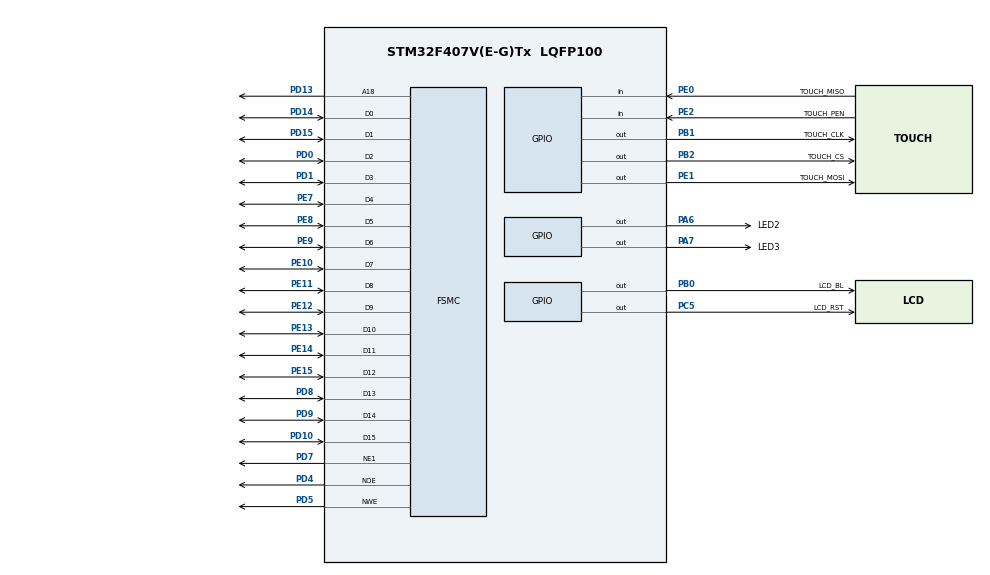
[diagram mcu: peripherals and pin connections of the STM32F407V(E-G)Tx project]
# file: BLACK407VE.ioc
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Dma.MEMTOMEM.0.Direction=DMA_MEMORY_TO_MEMORY
Dma.MEMTOMEM.0.FIFOMode=DMA_FIFOMODE_ENABLE
Dma.MEMTOMEM.0.FIFOThreshold=DMA_FIFO_THRESHOLD_FULL
Dma.MEMTOMEM.0.Instance=DMA2_Stream0
Dma.MEMTOMEM.0.MemBurst=DMA_MBURST_INC8
Dma.MEMTOMEM.0.MemDataAlignment=DMA_MDATAALIGN_HALFWORD
Dma.MEMTOMEM.0.MemInc=DMA_MINC_ENABLE
Dma.MEMTOMEM.0.Mode=DMA_NORMAL
Dma.MEMTOMEM.0.PeriphBurst=DMA_PBURST_INC8
Dma.MEMTOMEM.0.PeriphDataAlignment=DMA_PDATAALIGN_HALFWORD
Dma.MEMTOMEM.0.PeriphInc=DMA_PINC_ENABLE
Dma.MEMTOMEM.0.Priority=DMA_PRIORITY_HIGH
Dma.Request0=MEMTOMEM
FSMC.AddressSetupTime1=3
FSMC.BusTurnAroundDuration1=3
FSMC.DataSetupTime1=6
Mcu.Family=STM32F4
Mcu.Name=STM32F407V(E-G)Tx
Mcu.Package=LQFP100
NVIC.DMA2_Stream0_IRQn=true\:0\:0\:false\:false\:true\:true\:true
NVIC.PriorityGroup=NVIC_PRIORITYGROUP_4
PA13.Mode=Serial_Wire
PA13.Signal=SYS_JTMS-SWDIO
PA14.Mode=Serial_Wire
PA14.Signal=SYS_JTCK-SWCLK
PA6.GPIO_Label=LED2
PA6.Signal=GPIO_Output
PA7.GPIO_Label=LED3
PA7.Signal=GPIO_Output
PB0.GPIO_Label=LCD_BL
PB0.Signal=GPIO_Output
PB1.GPIO_Label=TOUCH_CLK
PB1.Signal=GPIO_Output
PB2.GPIO_Label=TOUCH_CS
PB2.Signal=GPIO_Output
PC14-OSC32_IN.Mode=LSE-External-Oscillator
PC14-OSC32_IN.Signal=RCC_OSC32_IN
PC15-OSC32_OUT.Mode=LSE-External-Oscillator
PC15-OSC32_OUT.Signal=RCC_OSC32_OUT
PC5.GPIO_Label=LCD_RST
PC5.Signal=GPIO_Output
PD0.Mode=16b-d1
PD0.Signal=FSMC_D2
PD1.Mode=16b-d1
PD1.Signal=FSMC_D3
PD10.Mode=16b-d1
PD10.Signal=FSMC_D15
PD13.Mode=A18_1
PD13.Signal=FSMC_A18
PD14.Mode=16b-d1
PD14.Signal=FSMC_D0
PD15.Mode=16b-d1
PD15.Signal=FSMC_D1
PD4.Mode=Lcd1
PD4.Signal=FSMC_NOE
PD5.Mode=Lcd1
PD5.Signal=FSMC_NWE
PD7.Mode=NorPsramChipSelect1_1
PD7.Signal=FSMC_NE1
PD8.Mode=16b-d1
PD8.Signal=FSMC_D13
PD9.Mode=16b-d1
PD9.Signal=FSMC_D14
PE0.GPIO_Label=TOUCH_MISO
PE0.Signal=GPIO_Input
PE1.GPIO_Label=TOUCH_MOSI
PE1.Signal=GPIO_Output
PE10.Mode=16b-d1
PE10.Signal=FSMC_D7
PE11.Mode=16b-d1
PE11.Signal=FSMC_D8
PE12.Mode=16b-d1
PE12.Signal=FSMC_D9
PE13.Mode=16b-d1
PE13.Signal=FSMC_D10
PE14.Mode=16b-d1
PE14.Signal=FSMC_D11
PE15.Mode=16b-d1
PE15.Signal=FSMC_D12
PE2.GPIO_Label=TOUCH_PEN
PE2.Signal=GPIO_Input
PE7.Mode=16b-d1
PE7.Signal=FSMC_D4
PE8.Mode=16b-d1
PE8.Signal=FSMC_D5
PE9.Mode=16b-d1
PE9.Signal=FSMC_D6
PH0-OSC_IN.Mode=HSE-External-Oscillator
PH0-OSC_IN.Signal=RCC_OSC_IN
PH1-OSC_OUT.Mode=HSE-External-Oscillator
PH1-OSC_OUT.Signal=RCC_OSC_OUT
ProjectManager.HeapSize=0x200
ProjectManager.StackSize=0x400
ProjectManager.TargetToolchain=Makefile
RCC.48MHZClocksFreq_Value=48000000
RCC.AHBFreq_Value=168000000
RCC.APB1CLKDivider=RCC_HCLK_DIV4
RCC.APB1Freq_Value=42000000
RCC.APB1TimFreq_Value=84000000
RCC.APB2CLKDivider=RCC_HCLK_DIV2
RCC.APB2Freq_Value=84000000
RCC.APB2TimFreq_Value=168000000
RCC.CortexFreq_Value=168000000
RCC.HCLKFreq_Value=168000000
RCC.HSE_VALUE=8000000
RCC.HSICalibrationValue=8
RCC.HSI_VALUE=16000000
RCC.PLLM=4
RCC.PLLN=168
RCC.PLLQ=7
RCC.PLLSourceVirtual=RCC_PLLSOURCE_HSE
RCC.RCC_RTC_Clock_Source=RCC_RTCCLKSOURCE_LSE
RCC.RCC_RTC_Clock_SourceVirtual=RCC_RTCCLKSOURCE_LSE
RCC.SYSCLKFreq_VALUE=168000000
RCC.SYSCLKSource=RCC_SYSCLKSOURCE_PLLCLK
RCC.VCOOutputFreq_Value=336000000
board=custom

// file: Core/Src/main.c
/* USER CODE BEGIN Header */
/**
  ******************************************************************************
  * @file           : main.c
  * @brief          : Main program body
  ******************************************************************************
  * @attention
  *
  * <h2><center>&copy; Copyright (c) 2020 STMicroelectronics.
  * All rights reserved.</center></h2>
  *
  * This software component is licensed by ST under BSD 3-Clause license,
  * the "License"; You may not use this file except in compliance with the
  * License. You may obtain a copy of the License at:
  *                        opensource.org/licenses/BSD-3-Clause
  *
  ******************************************************************************
  */
/* USER CODE END Header */
#include "main.h"
#include "dma.h"
#include "gpio.h"
// #include "fsmc.h"

/* USER CODE BEGIN Includes */
#include <stdio.h>
#include <string.h>

#include "fsmc_ll.h"
#include "ili9341.h"
#include "xpt2046.h"
#include "soft_spi_ts.h"
/* USER CODE END Includes */

/* USER CODE BEGIN PV */

//extern uint16_t tp_pressed;

/* USER CODE END PV */

void SystemClock_Config(void);

extern TS_Point p; // define on __xpt2046_H
volatile bool ts_pressed;
volatile uint32_t ts_divide;

int main(void)
{

  /* MCU Configuration--------------------------------------------------------*/

  /* Reset of all peripherals, Initializes the Flash interface and the Systick. */
  // HAL_Init();

  /* USER CODE BEGIN Init */
  // HAL_Init();
  SET_BIT(RCC->APB2ENR, RCC_APB2ENR_SYSCFGEN); // __HAL_RCC_SYSCFG_CLK_ENABLE();
  SET_BIT(RCC->APB1ENR, RCC_APB1ENR_PWREN); // __HAL_RCC_PWR_CLK_ENABLE();
  /* USER CODE END Init */

  /* Configure the system clock */
  SystemClock_Config();

  /* Initialize all configured peripherals */
  MX_GPIO_Init();
  MX_DMA_Init();
  MX_FSMC_Init();
  /* USER CODE BEGIN 2 */

  lcdBacklightOn();

  lcdInit();
  lcdSetOrientation(LCD_ORIENTATION_PORTRAIT_MIRROR);
  lcdFillRGB(COLOR_BLUE);
  lcdSetTextFont(&Font20);
  lcdSetTextColor(COLOR_CYAN, COLOR_BLUE);
  lcdFillRoundRect(160, 32, 64, 48, 8, COLOR_RED);

  /* USER CODE END 2 */

  /* Infinite loop */
  /* USER CODE BEGIN WHILE */
  while (1)  {
    get_point(&p); // get coordinates x y z from xpt2046
    xpt2046_read();
    lcdSetCursor(5,5);
    lcdPrintf("X%02i Y%02i Z%02i\n", (uint16_t)p.x, (uint16_t)p.y, (uint16_t)p.z);
    // lcdPrintf("X:%02i: Y:%02i\n", 22,44);

    LL_mDelay(250);
    LCD_DrawSpectrum(0,   0, 180, 110,  50);
    LCD_DrawSpectrum(0, 110, 180, 110, 120);
    LCD_DrawSpectrum(0, 220, 180, 100, 240);
    /* USER CODE END WHILE */

	}
}

void SystemClock_Config(void)
{
  LL_FLASH_SetLatency(LL_FLASH_LATENCY_5);
  while(LL_FLASH_GetLatency()!= LL_FLASH_LATENCY_5)
  {
  }
  LL_PWR_SetRegulVoltageScaling(LL_PWR_REGU_VOLTAGE_SCALE1);
  LL_RCC_HSE_Enable();

   /* Wait till HSE is ready */
  while(LL_RCC_HSE_IsReady() != 1)
  {

  }
  LL_RCC_PLL_ConfigDomain_SYS(LL_RCC_PLLSOURCE_HSE, LL_RCC_PLLM_DIV_4, 168, LL_RCC_PLLP_DIV_2);
  LL_RCC_PLL_Enable();

   /* Wait till PLL is ready */
  while(LL_RCC_PLL_IsReady() != 1)
  {

  }
  LL_RCC_SetAHBPrescaler(LL_RCC_SYSCLK_DIV_1);
  LL_RCC_SetAPB1Prescaler(LL_RCC_APB1_DIV_4);
  LL_RCC_SetAPB2Prescaler(LL_RCC_APB2_DIV_2);
  LL_RCC_SetSysClkSource(LL_RCC_SYS_CLKSOURCE_PLL);

   /* Wait till System clock is ready */
  while(LL_RCC_GetSysClkSource() != LL_RCC_SYS_CLKSOURCE_STATUS_PLL)
  {

  }
  LL_SetSystemCoreClock(168000000);

   /* Update the time base */
  if (HAL_InitTick (TICK_INT_PRIORITY) != HAL_OK)
  {
    Error_Handler();
  }
}

/* USER CODE BEGIN 4 */
void  HAL_GPIO_EXTI_Callback ( uint16_t GPIO_Pin)
{

	/*
	if (GPIO_Pin ==T_PEN_Pin){
		tp_pressed = 1;
		if(XPT2046_TouchPressed()){
			if(XPT2046_TouchGetCoordinates(&x, &y))	{
				flag1=1;

				lcdSetCursor(20,20);
				lcdPrintf("x:%03i: y:%02i", y, 320-x);
				lcdDrawPixel(y, 320-x, COLOR_RED);

			}
		}

	}
	*/
}

void LCD_DrawSpectrum(uint16_t x, uint16_t y, uint16_t width, uint16_t height, uint8_t brightness) {

    float c = 0.0f;
    uint16_t red, green, blue = 0;
    float fIncrement = 1.0 / width;
    uint16_t sixTimes = brightness * 6; //1530=255*6

	for(uint16_t i = x; i <= (x + width); i++) {

		if(c >= 0 && c <= (1/6.f)){
			red = brightness;
			green = sixTimes * c;
			blue = 0;
		} else if( c > (1/6.f) && c <= (1/3.f) ){
			red = brightness - (sixTimes * (c - 1/6.f));
			green = brightness;
			blue = 0;
		} else if( c > (1/3.f) && c <= (1/2.f)){
			red = 0;
			green = brightness;
			blue = sixTimes * (c - 1/3.f);
		} else if(c > (1/2.f) && c <= (2/3.f)) {
			red = 0;
			green = brightness - ((c - 0.5f) * sixTimes);
			blue = brightness;
		} else if( c > (2/3.f) && c <= (5/6.f) ){
			red = (c - (2/3.f)) * sixTimes;
			green = 0;
			blue = brightness;
		} else if(c > (5/6.f) && c <= 1 ){
			red = brightness;
			green = 0;
			blue = brightness - ((c - (5/6.f)) * sixTimes);
		}

		lcdDrawVLine( i, y, y+height, lcdColor565(red, green, blue));
		// LL_mDelay(1);

	  c += fIncrement;
  }

  c=0.0;

}

/* USER CODE END 4 */

void Error_Handler(void)
{
}

/************************ (C) COPYRIGHT STMicroelectronics *****END OF FILE****/
